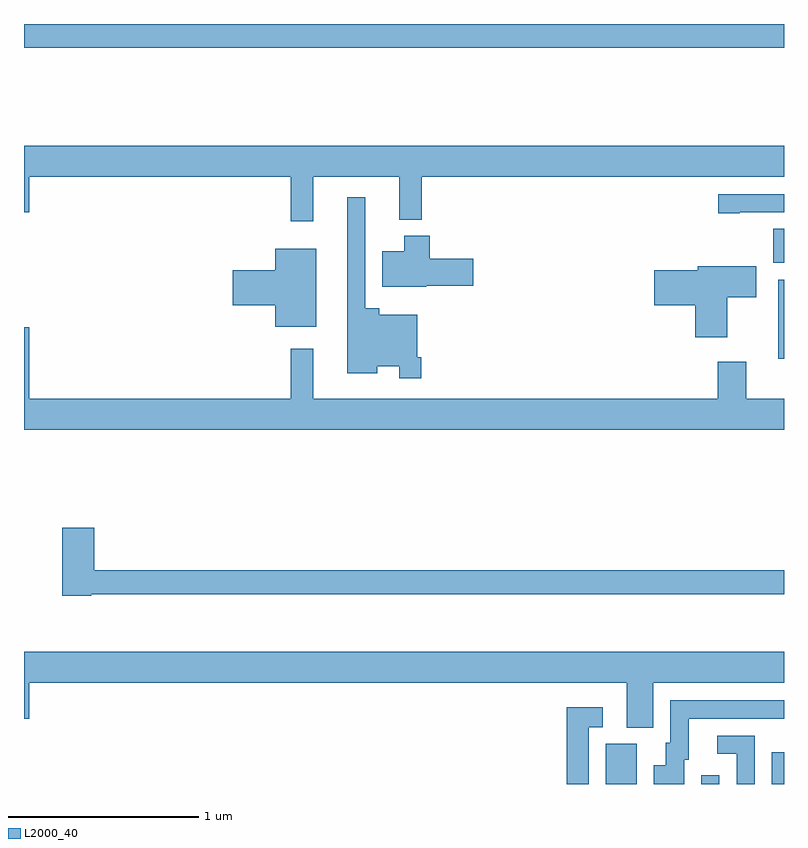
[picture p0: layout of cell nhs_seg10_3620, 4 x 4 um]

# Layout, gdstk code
import gdstk
lib = gdstk.Library(unit=1e-6, precision=1e-09)
def R(c, l, rs):  # rectangles x0, y0, x1, y1
    for r in rs: c.add(gdstk.rectangle(r[:2], r[2:], *l))
def P(c, l, *ps):  # polygons
    for p in ps: c.add(gdstk.Polygon(p, *l))
L2000_40 = (2000, 40)

nhs_seg10_3620 = lib.new_cell('nhs_seg10_3620')
R(nhs_seg10_3620, L2000_40, [(312.062,1250.5,312.226,1250.712), (312.564,1250.5,312.66,1250.545), (312.935,1250.5,313,1250.668), (312.971,1252.737,313,1253.155), (312.944,1253.244,313,1253.423), (309,1254.376,313,1254.5)])
P(nhs_seg10_3620, L2000_40, [(310.523,1253.696),(310.976,1253.696),(310.976,1253.471),(311.093,1253.471),(311.093,1253.696),(313,1253.696),(313,1253.86),(309,1253.86),(309,1253.508),(309.028,1253.508),(309.028,1253.696),(310.405,1253.696),(310.405,1253.463),(310.523,1253.463)],
  [(312.766,1253.508),(313,1253.508),(313,1253.604),(312.654,1253.604),(312.654,1253.503),(312.766,1253.503)],
  [(311.09,1252.747),(311.07,1252.747),(311.07,1252.969),(310.871,1252.969),(310.871,1253.005),(310.797,1253.005),(310.797,1253.587),(310.7,1253.587),(310.7,1252.661),(310.858,1252.661),(310.858,1252.7),(310.974,1252.7),(310.974,1252.635),(311.09,1252.635)],
  [(311.118,1253.123),(311.365,1253.123),(311.365,1253.265),(311.135,1253.265),(311.135,1253.386),(311,1253.386),(311,1253.305),(310.886,1253.305),(310.886,1253.117),(311.118,1253.117)],
  [(310.537,1253.317),(310.322,1253.317),(310.322,1253.204),(310.098,1253.204),(310.098,1253.021),(310.322,1253.021),(310.322,1252.907),(310.537,1252.907)],
  [(312.7,1253.062),(312.853,1253.062),(312.853,1253.224),(312.545,1253.224),(312.545,1253.204),(312.318,1253.204),(312.318,1253.021),(312.533,1253.021),(312.533,1252.851),(312.7,1252.851)],
  [(313,1252.528),(312.802,1252.528),(312.802,1252.723),(312.65,1252.723),(312.65,1252.528),(310.522,1252.528),(310.522,1252.792),(310.405,1252.792),(310.405,1252.528),(309.028,1252.528),(309.028,1252.903),(309,1252.903),(309,1252.364),(313,1252.364)],
  [(309.354,1251.498),(313,1251.498),(313,1251.626),(309.371,1251.626),(309.371,1251.85),(309.2,1251.85),(309.2,1251.49),(309.354,1251.49)],
  [(312.313,1251.032),(313,1251.032),(313,1251.196),(309,1251.196),(309,1250.844),(309.028,1250.844),(309.028,1251.032),(312.173,1251.032),(312.173,1250.797),(312.313,1250.797)],
  [(312.475,1250.628),(312.499,1250.628),(312.499,1250.844),(313,1250.844),(313,1250.94),(312.402,1250.94),(312.402,1250.718),(312.377,1250.718),(312.377,1250.599),(312.314,1250.599),(312.314,1250.5),(312.475,1250.5)],
  [(311.973,1250.799),(312.046,1250.799),(312.046,1250.905),(311.857,1250.905),(311.857,1250.5),(311.973,1250.5)],
  [(312.846,1250.754),(312.648,1250.754),(312.648,1250.658),(312.75,1250.658),(312.75,1250.5),(312.846,1250.5)])

lib.write_gds('nhs_seg10_3620.gds')
